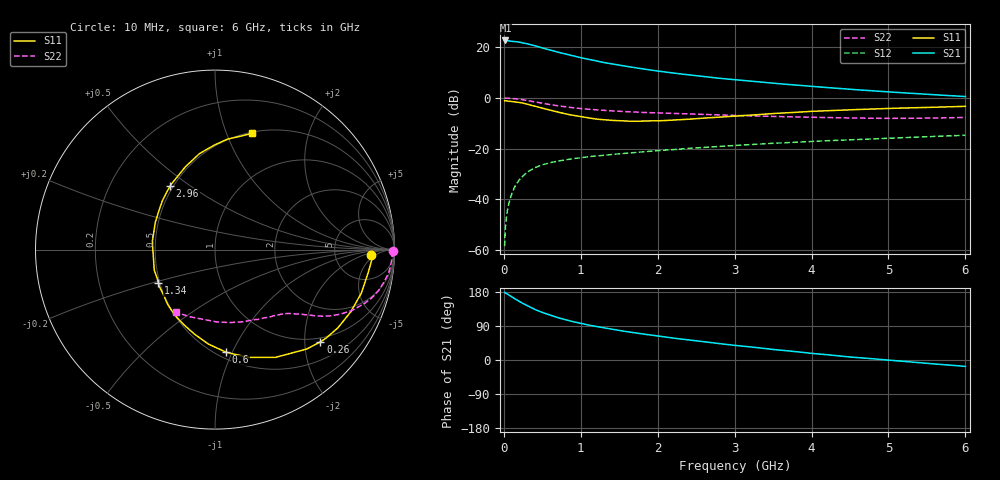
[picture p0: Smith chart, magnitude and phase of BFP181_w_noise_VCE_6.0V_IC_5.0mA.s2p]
! Infineon Technologies  Discrete & RF Semiconductors
! BFP181
! VCE = 6.0 V,  IC =  5.0 mA
! Common Emitter S-Parameters:  Jan 2016
# GHz  S  MA  R  50
!  f  S11  S21  S12  S22
! GHz  MAG  ANG  MAG  ANG  MAG  ANG  MAG  ANG
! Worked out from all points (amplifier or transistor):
!   210 points, 10 MHz to 6 GHz, reference 50 ohm
!   highest |S21| = 22.6 dB at 20 MHz (marker M1)
!   |S21| within 3 dB of that: start of sweep to 506.4 MHz
!   unconditionally stable (mu >= 1): 1.779 GHz to end of sweep
!   at 185 MHz: K = 0.17, MSG = 27.5 dB, |S12| = -33.0 dB
!   at 1.52 GHz: K = 0.92, MSG = 17.4 dB, |S12| = -22.0 dB
!   at 6 GHz: K = 1.05, MAG = 6.2 dB, |S12| = -14.7 dB
!   lowest NFmin = 1.55 dB at 450 MHz
!   S11 on the Smith chart (normalised r, x): 10 MHz: 13, -3; 260 MHz: 0.90, -2.37; 600 MHz: 0.55, -0.95; 1.34 GHz: 0.49, -0.21; 2.96 GHz: 0.48, +0.42; 6 GHz: 0.51, +1.24
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0.01  0.8685 -1.9  13.34 178.2  0.0012 88.9  0.9908 -0.6
0.02  0.8765 -3.4  13.47 177.4  0.0027 85.2  0.9888 -1.4
0.055  0.8616 -9.0  13.31 172.7  0.0072 87.8  0.9846 -4.1
0.15  0.8322 -24.6  12.83 160.7  0.0186 75.5  0.9598 -10.8
0.2  0.8116 -32.5  12.51 154.7  0.0242 72.1  0.9398 -14.0
0.26  0.7805 -41.2  11.93 147.9  0.0299 68.3  0.9098 -17.5
0.3  0.7537 -47.3  11.63 144.0  0.034 65.5  0.8887 -19.5
0.4  0.6887 -60.7  10.67 133.6  0.0419 59.3  0.8338 -24.1
0.5  0.6286 -72.8  9.595 125.3  0.048 54.7  0.7816 -27.5
0.6  0.5751 -83.8  8.789 118.1  0.0528 51.4  0.7373 -30.1
0.7  0.5276 -94.0  7.944 111.8  0.0568 48.4  0.698 -32.1
0.8  0.4844 -103.7  7.322 106.1  0.06 46.2  0.6647 -33.6
1.02  0.4221 -123.5  6.077 95.8  0.0666 42.9  0.6102 -36.3
1.16  0.3897 -135.3  5.495 90.0  0.0707 41.6  0.5865 -37.8
1.34  0.3661 -149.5  4.842 83.6  0.0748 40.3  0.5612 -39.5
1.62  0.3473 -170.0  4.109 74.2  0.0817 39.1  0.532 -42.1
2.02  0.3534 165.3  3.338 62.8  0.0915 37.5  0.503 -46.5
2.96  0.4333 125.2  2.305 39.6  0.1143 33.4  0.4514 -59.6
3.1  0.4461 120.8  2.203 36.7  0.1176 32.6  0.4449 -61.8
4.1  0.5486 97.4  1.638 15.8  0.1408 26.6  0.4114 -80.5
5.1  0.6244 82.3  1.28 -2.0  0.1618 20.7  0.3941 -101.8
6  0.6803 72.3  1.061 -16.9  0.1834 14.8  0.4112 -121.8
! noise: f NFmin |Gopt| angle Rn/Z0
0.45  1.55  0.48  17  0.36
0.9  1.65  0.4  35  0.34
1.8  2  0.18  88  0.34
